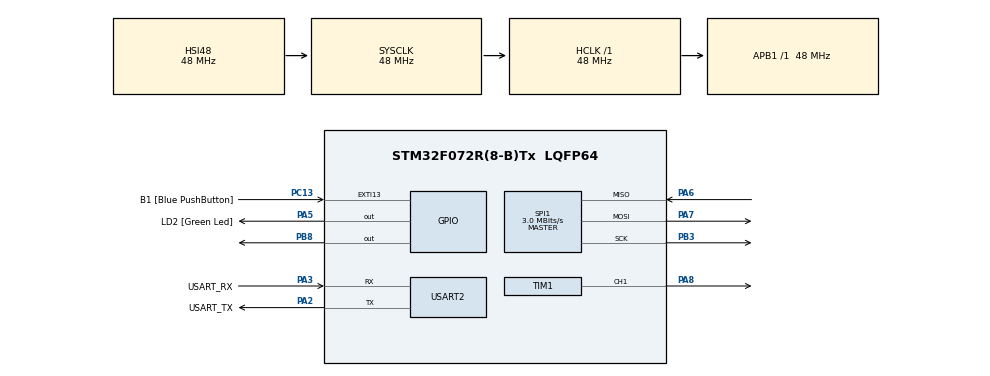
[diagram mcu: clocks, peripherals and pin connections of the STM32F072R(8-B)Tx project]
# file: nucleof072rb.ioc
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Mcu.Family=STM32F0
Mcu.Name=STM32F072R(8-B)Tx
Mcu.Package=LQFP64
PA13.GPIO_Label=TMS
PA13.Mode=Serial_Wire
PA13.Signal=SYS_SWDIO
PA14.GPIO_Label=TCK
PA14.Mode=Serial_Wire
PA14.Signal=SYS_SWCLK
PA2.GPIO_Label=USART_TX
PA2.GPIO_Mode=GPIO_MODE_AF_PP
PA2.GPIO_PuPd=GPIO_NOPULL
PA2.GPIO_Speed=GPIO_SPEED_FREQ_LOW
PA2.Mode=Asynchronous
PA2.Signal=USART2_TX
PA3.GPIO_Label=USART_RX
PA3.GPIO_Mode=GPIO_MODE_AF_PP
PA3.GPIO_PuPd=GPIO_NOPULL
PA3.GPIO_Speed=GPIO_SPEED_FREQ_LOW
PA3.Mode=Asynchronous
PA3.Signal=USART2_RX
PA5.GPIO_Label=LD2 [Green Led]
PA5.GPIO_Mode=GPIO_MODE_OUTPUT_PP
PA5.GPIO_PuPd=GPIO_NOPULL
PA5.GPIO_Speed=GPIO_SPEED_FREQ_LOW
PA5.Signal=GPIO_Output
PA6.Mode=Full_Duplex_Master
PA6.Signal=SPI1_MISO
PA7.Mode=Full_Duplex_Master
PA7.Signal=SPI1_MOSI
PA8.Signal=S_TIM1_CH1
PB3.Mode=Full_Duplex_Master
PB3.Signal=SPI1_SCK
PB8.Signal=GPIO_Output
PC13.GPIO_Label=B1 [Blue PushButton]
PC13.GPIO_ModeDefaultEXTI=GPIO_MODE_IT_FALLING
PC13.Signal=GPXTI13
PC14-OSC32_IN.Mode=LSE-External-Oscillator
PC14-OSC32_IN.Signal=RCC_OSC32_IN
PC15-OSC32_OUT.Mode=LSE-External-Oscillator
PC15-OSC32_OUT.Signal=RCC_OSC32_OUT
PF0-OSC_IN.Mode=HSE-External-Clock-Source
PF0-OSC_IN.Signal=RCC_OSC_IN
PF1-OSC_OUT.Signal=RCC_OSC_OUT
ProjectManager.HeapSize=0x200
ProjectManager.StackSize=0x400
ProjectManager.TargetToolchain=STM32CubeIDE
RCC.AHBFreq_Value=48000000
RCC.APB1Freq_Value=48000000
RCC.APB1TimFreq_Value=48000000
RCC.FLatency-AdvancedSettings=FLASH_LATENCY_1
RCC.HCLKFreq_Value=48000000
RCC.PLLDivider=RCC_PREDIV_DIV2
RCC.PLLMUL=RCC_PLL_MUL12
RCC.PREFETCH_ENABLE-AdvancedSettings=1
RCC.SYSCLKFreq_VALUE=48000000
RCC.SYSCLKSource=RCC_SYSCLKSOURCE_HSI48
SH.S_TIM1_CH1.0=TIM1_CH1,PWM Generation1 CH1
SPI1.BaudRatePrescaler=SPI_BAUDRATEPRESCALER_16
SPI1.CalculateBaudRate=3.0 MBits/s
SPI1.DataSize=SPI_DATASIZE_8BIT
SPI1.Direction=SPI_DIRECTION_2LINES
SPI1.FirstBit=SPI_FIRSTBIT_MSB
SPI1.Mode=SPI_MODE_MASTER
SPI1.VirtualType=VM_MASTER
TIM1.Channel-PWM\ Generation1\ CH1=TIM_CHANNEL_1
TIM1.Period=64000
TIM1.Prescaler=14
TIM1.Pulse-PWM\ Generation1\ CH1=1000
USART2.VirtualMode=VM_ASYNC
USART2.VirtualMode-Asynchronous=VM_ASYNC
VP_TIM1_VS_ClockSourceINT.Mode=Internal
board=NUCLEO-F072RB

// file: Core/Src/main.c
/* USER CODE BEGIN Header */
/**
  ******************************************************************************
  * @file           : main.c
  * @brief          : Main program body
  ******************************************************************************
  * @attention
  *
  * <h2><center>&copy; Copyright (c) 2021 STMicroelectronics.
  * All rights reserved.</center></h2>
  *
  * This software component is licensed by ST under BSD 3-Clause license,
  * the "License"; You may not use this file except in compliance with the
  * License. You may obtain a copy of the License at:
  *                        opensource.org/licenses/BSD-3-Clause
  *
  ******************************************************************************
  */
/* USER CODE END Header */
#include "main.h"
#include "spi.h"
#include "tim.h"
#include "usart.h"
#include "gpio.h"

/* USER CODE BEGIN PV */
uint8_t txData[3];
uint8_t rxData[3];
uint8_t DUTY_CYCLE_CNT = 3200;
uint8_t ADC_MAX = 1023;
/* USER CODE END PV */

void SystemClock_Config(void);

int main(void)
{

  /* MCU Configuration--------------------------------------------------------*/

  /* Reset of all peripherals, Initializes the Flash interface and the Systick. */
  HAL_Init();

  /* Configure the system clock */
  SystemClock_Config();

  /* Initialize all configured peripherals */
  MX_GPIO_Init();
  MX_USART2_UART_Init();
  MX_SPI1_Init();
  MX_TIM1_Init();
  /* USER CODE BEGIN 2 */
  // Configure transmit data for single-ended mode, channel 0
  txData[0] = 0x01;        // 7 leading zeros + start bit (00000001)
  txData[1] = 0b10000000;  // Single-ended(1) + Channel 0(000) + xxx
  txData[2] = 0x00;        // Don't care

  // Configure CS pin as output
  HAL_GPIO_WritePin(GPIOB, GPIO_PIN_8, GPIO_PIN_SET);

  // Start PWM timer
  HAL_TIM_PWM_Start(&htim1, TIM_CHANNEL_1);
  /* USER CODE END 2 */

  /* Infinite loop */
  /* USER CODE BEGIN WHILE */
  while (1)
  {
    // Start SPI transaction
    HAL_GPIO_WritePin(GPIOB, GPIO_PIN_8, GPIO_PIN_RESET);  // CS low

    // Transmit and receive 3 bytes
    HAL_SPI_TransmitReceive(&hspi1, txData, rxData, 3, HAL_MAX_DELAY);

    // End SPI transaction
    HAL_GPIO_WritePin(GPIOB, GPIO_PIN_8, GPIO_PIN_SET);  // CS high

    // Process received data (10-bit value, 0-1023)
    uint16_t adc_value = ((rxData[1] & 0x03) << 8) | rxData[2];

    // Convert ADC value (0-1023) to PWM counts (1000-2000)
    // 3200 counts = 1ms = 5% duty cycle
    // 6400 counts = 2ms = 10% duty cycle
    uint16_t pwm_counts = DUTY_CYCLE_CNT + (adc_value * DUTY_CYCLE_CNT) / ADC_MAX;

    // Update PWM compare value
    __HAL_TIM_SET_COMPARE(&htim1, TIM_CHANNEL_1, pwm_counts);

    HAL_Delay(10);  // Small delay between readings

    /* USER CODE END WHILE */

  }
}

void SystemClock_Config(void)
{
  RCC_OscInitTypeDef RCC_OscInitStruct = {0};
  RCC_ClkInitTypeDef RCC_ClkInitStruct = {0};
  RCC_PeriphCLKInitTypeDef PeriphClkInit = {0};

  /** Initializes the RCC Oscillators according to the specified parameters
  * in the RCC_OscInitTypeDef structure.
  */
  RCC_OscInitStruct.OscillatorType = RCC_OSCILLATORTYPE_HSI48;
  RCC_OscInitStruct.HSI48State = RCC_HSI48_ON;
  RCC_OscInitStruct.PLL.PLLState = RCC_PLL_NONE;
  if (HAL_RCC_OscConfig(&RCC_OscInitStruct) != HAL_OK)
  {
    Error_Handler();
  }
  /** Initializes the CPU, AHB and APB buses clocks
  */
  RCC_ClkInitStruct.ClockType = RCC_CLOCKTYPE_HCLK|RCC_CLOCKTYPE_SYSCLK
                              |RCC_CLOCKTYPE_PCLK1;
  RCC_ClkInitStruct.SYSCLKSource = RCC_SYSCLKSOURCE_HSI48;
  RCC_ClkInitStruct.AHBCLKDivider = RCC_SYSCLK_DIV1;
  RCC_ClkInitStruct.APB1CLKDivider = RCC_HCLK_DIV1;

  if (HAL_RCC_ClockConfig(&RCC_ClkInitStruct, FLASH_LATENCY_1) != HAL_OK)
  {
    Error_Handler();
  }
  PeriphClkInit.PeriphClockSelection = RCC_PERIPHCLK_USART2;
  PeriphClkInit.Usart2ClockSelection = RCC_USART2CLKSOURCE_PCLK1;
  if (HAL_RCCEx_PeriphCLKConfig(&PeriphClkInit) != HAL_OK)
  {
    Error_Handler();
  }
}

void Error_Handler(void)
{
  __disable_irq();
  while (1)
  {
  }
}

/************************ (C) COPYRIGHT STMicroelectronics *****END OF FILE****/
